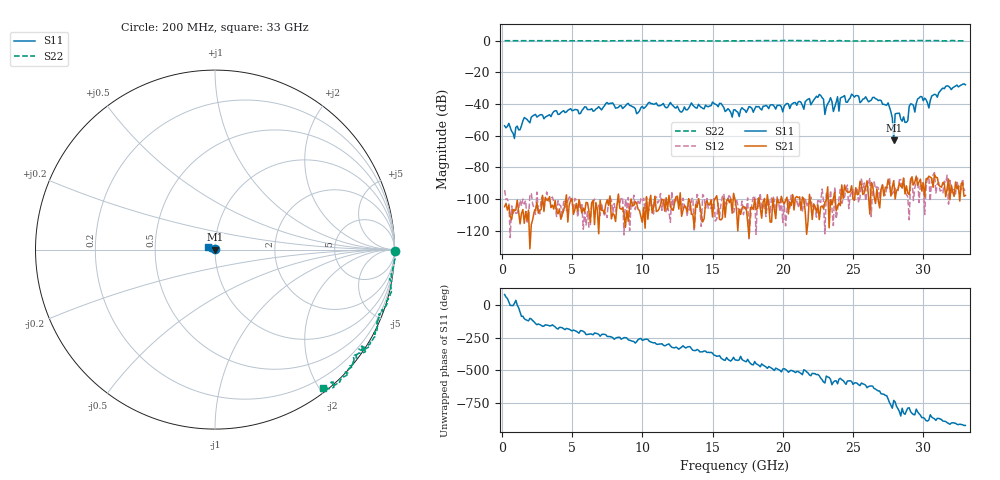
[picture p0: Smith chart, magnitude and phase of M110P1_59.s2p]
# GHZ S RI R 50
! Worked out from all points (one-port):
!   329 points, 200 MHz to 33 GHz, reference 50 ohm
!   lowest |S11| = -63.0 dB at 27.9 GHz (marker M1), VSWR 1.00, Z = 50.1 - j0.0142 ohm
!   |S11| at or under -10 dB: start of sweep to end of sweep
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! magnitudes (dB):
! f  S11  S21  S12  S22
! 200 MHz  -53.8  -104.9  -94.4  0.0
! 900 MHz  -61.8  -107.5  -106.7  0.0
! 1.6 GHz  -48.6  -115.4  -103.2  0.0
! 5.7 GHz  -44.2  -108.9  -103.6  -0.1
! 11.2 GHz  -41.1  -106.2  -101.0  0.0
! 16.6 GHz  -43.7  -100.3  -105.1  -0.1
! 22.1 GHz  -38.9  -113.0  -105.7  0.1
! 22.7 GHz  -34.6  -105.0  -102.2  -0.1
! 23 GHz  -46.6  -102.1  -122.1  0.0
! 23.4 GHz  -36.0  -100.5  -94.6  -0.2
! 23.6 GHz  -44.7  -99.9  -116.8  -0.1
! 23.9 GHz  -35.4  -104.7  -107.0  -0.1
! 24 GHz  -44.6  -102.6  -99.9  0.1
! 24.9 GHz  -33.8  -91.7  -95.8  -0.1
! 27.6 GHz  -42.1  -90.6  -86.5  0.0
! 27.8 GHz  -48.9  -92.4  -96.9  -0.1
! 27.9 GHz  -63.0  -88.4  -95.2  -0.1
! 28 GHz  -46.3  -100.1  -93.2  0.0
! 28.8 GHz  -51.6  -91.7  -97.2  0.0
! 29.8 GHz  -35.3  -87.5  -89.9  0.1
! 30.4 GHz  -42.5  -85.6  -86.5  0.1
! 33 GHz  -27.8  -97.8  -94.4  -0.2
